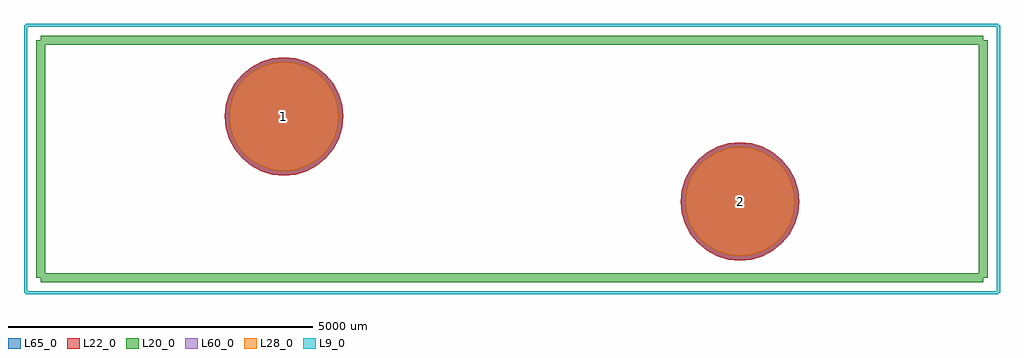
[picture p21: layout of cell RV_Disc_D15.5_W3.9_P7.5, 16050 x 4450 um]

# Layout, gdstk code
import gdstk
lib = gdstk.Library(unit=1e-6, precision=1e-09)
def P(c, l, *ps):  # polygons
    for p in ps: c.add(gdstk.Polygon(p, *l))
L9_0 = (9, 0)
L20_0 = (20, 0)
L22_0 = (22, 0)
L28_0 = (28, 0)
L60_0 = (60, 0)
L65_0 = (65, 0)

rv_disc_d15_5_w3_9_p7_5 = lib.new_cell('RV_Disc_D15.5_W3.9_P7.5')
P(rv_disc_d15_5_w3_9_p7_5, L22_0, [(8475,-1400),(8456.266,-1209.787),(8400.783,-1026.884),(8310.683,-858.319),(8189.429,-710.571),(8041.681,-589.317),(7873.116,-499.217),(7690.213,-443.734),(7500,-425),(7309.787,-443.734),(7126.884,-499.217),(6958.319,-589.317),(6810.571,-710.571),(6689.317,-858.319),(6599.217,-1026.884),(6543.734,-1209.787),(6525,-1400),(6543.734,-1590.213),(6599.217,-1773.116),(6689.317,-1941.681),(6810.571,-2089.429),(6958.319,-2210.683),(7126.884,-2300.783),(7309.787,-2356.266),(7500,-2375),(7690.213,-2356.266),(7873.116,-2300.783),(8041.681,-2210.683),(8189.429,-2089.429),(8310.683,-1941.681),(8400.783,-1773.116),(8456.266,-1590.213)],
  [(975,0),(956.266,190.213),(900.783,373.116),(810.683,541.681),(689.429,689.429),(541.681,810.683),(373.116,900.783),(190.213,956.266),(0,975),(-190.213,956.266),(-373.116,900.783),(-541.681,810.683),(-689.429,689.429),(-810.683,541.681),(-900.783,373.116),(-956.266,190.213),(-975,0),(-956.266,-190.213),(-900.783,-373.116),(-810.683,-541.681),(-689.429,-689.429),(-541.681,-810.683),(-373.116,-900.783),(-190.213,-956.266),(0,-975),(190.213,-956.266),(373.116,-900.783),(541.681,-810.683),(689.429,-689.429),(810.683,-541.681),(900.783,-373.116),(956.266,-190.213)])
P(rv_disc_d15_5_w3_9_p7_5, L28_0, [(8400,-1400),(8382.707,-1224.419),(8331.492,-1055.585),(8248.323,-899.987),(8136.396,-763.604),(8000.013,-651.677),(7844.415,-568.508),(7675.581,-517.293),(7500,-500),(7324.419,-517.293),(7155.585,-568.508),(6999.987,-651.677),(6863.604,-763.604),(6751.677,-899.987),(6668.508,-1055.585),(6617.293,-1224.419),(6600,-1400),(6617.293,-1575.581),(6668.508,-1744.415),(6751.677,-1900.013),(6863.604,-2036.396),(6999.987,-2148.323),(7155.585,-2231.492),(7324.419,-2282.707),(7500,-2300),(7675.581,-2282.707),(7844.415,-2231.492),(8000.013,-2148.323),(8136.396,-2036.396),(8248.323,-1900.013),(8331.492,-1744.415),(8382.707,-1575.581)],
  [(900,0),(882.707,175.581),(831.492,344.415),(748.323,500.013),(636.396,636.396),(500.013,748.323),(344.415,831.492),(175.581,882.707),(0,900),(-175.581,882.707),(-344.415,831.492),(-500.013,748.323),(-636.396,636.396),(-748.323,500.013),(-831.492,344.415),(-882.707,175.581),(-900,0),(-882.707,-175.581),(-831.492,-344.415),(-748.323,-500.013),(-636.396,-636.396),(-500.013,-748.323),(-344.415,-831.492),(-175.581,-882.707),(0,-900),(175.581,-882.707),(344.415,-831.492),(500.013,-748.323),(636.396,-636.396),(748.323,-500.013),(831.492,-344.415),(882.707,-175.581)])
P(rv_disc_d15_5_w3_9_p7_5, L60_0, [(8400,-1400),(8382.707,-1224.419),(8331.492,-1055.585),(8248.323,-899.987),(8136.396,-763.604),(8000.013,-651.677),(7844.415,-568.508),(7675.581,-517.293),(7500,-500),(7324.419,-517.293),(7155.585,-568.508),(6999.987,-651.677),(6863.604,-763.604),(6751.677,-899.987),(6668.508,-1055.585),(6617.293,-1224.419),(6600,-1400),(6617.293,-1575.581),(6668.508,-1744.415),(6751.677,-1900.013),(6863.604,-2036.396),(6999.987,-2148.323),(7155.585,-2231.492),(7324.419,-2282.707),(7500,-2300),(7675.581,-2282.707),(7844.415,-2231.492),(8000.013,-2148.323),(8136.396,-2036.396),(8248.323,-1900.013),(8331.492,-1744.415),(8382.707,-1575.581)],
  [(900,0),(882.707,175.581),(831.492,344.415),(748.323,500.013),(636.396,636.396),(500.013,748.323),(344.415,831.492),(175.581,882.707),(0,900),(-175.581,882.707),(-344.415,831.492),(-500.013,748.323),(-636.396,636.396),(-748.323,500.013),(-831.492,344.415),(-882.707,175.581),(-900,0),(-882.707,-175.581),(-831.492,-344.415),(-748.323,-500.013),(-636.396,-636.396),(-500.013,-748.323),(-344.415,-831.492),(-175.581,-882.707),(0,-900),(175.581,-882.707),(344.415,-831.492),(500.013,-748.323),(636.396,-636.396),(748.323,-500.013),(831.492,-344.415),(882.707,-175.581)])
P(rv_disc_d15_5_w3_9_p7_5, L65_0, [(8475,-1400),(8456.266,-1209.787),(8400.783,-1026.884),(8310.683,-858.319),(8189.429,-710.571),(8041.681,-589.317),(7873.116,-499.217),(7690.213,-443.734),(7500,-425),(7309.787,-443.734),(7126.884,-499.217),(6958.319,-589.317),(6810.571,-710.571),(6689.317,-858.319),(6599.217,-1026.884),(6543.734,-1209.787),(6525,-1400),(6543.734,-1590.213),(6599.217,-1773.116),(6689.317,-1941.681),(6810.571,-2089.429),(6958.319,-2210.683),(7126.884,-2300.783),(7309.787,-2356.266),(7500,-2375),(7690.213,-2356.266),(7873.116,-2300.783),(8041.681,-2210.683),(8189.429,-2089.429),(8310.683,-1941.681),(8400.783,-1773.116),(8456.266,-1590.213)],
  [(975,0),(956.266,190.213),(900.783,373.116),(810.683,541.681),(689.429,689.429),(541.681,810.683),(373.116,900.783),(190.213,956.266),(0,975),(-190.213,956.266),(-373.116,900.783),(-541.681,810.683),(-689.429,689.429),(-810.683,541.681),(-900.783,373.116),(-956.266,190.213),(-975,0),(-956.266,-190.213),(-900.783,-373.116),(-810.683,-541.681),(-689.429,-689.429),(-541.681,-810.683),(-373.116,-900.783),(-190.213,-956.266),(0,-975),(190.213,-956.266),(373.116,-900.783),(541.681,-810.683),(689.429,-689.429),(810.683,-541.681),(900.783,-373.116),(956.266,-190.213)])
rv_disc_d15_5_w3_9_p7_5.add(gdstk.FlexPath([(-4000,1250),(-4000,-2650)], 149.998, ends="flush", simple_path=True, layer=20, datatype=0))  # L20_0
rv_disc_d15_5_w3_9_p7_5.add(gdstk.FlexPath([(11500,1250),(11500,-2650)], 149.998, ends="flush", simple_path=True, layer=20, datatype=0))  # L20_0
rv_disc_d15_5_w3_9_p7_5.add(gdstk.FlexPath([(-4000,1250),(11500,1250)], 149.998, ends="flush", simple_path=True, layer=20, datatype=0))  # L20_0
rv_disc_d15_5_w3_9_p7_5.add(gdstk.FlexPath([(-4000,-2650),(11500,-2650)], 149.998, ends="flush", simple_path=True, layer=20, datatype=0))  # L20_0
rv_disc_d15_5_w3_9_p7_5.add(gdstk.FlexPath([(-4250,1500),(-4250,-2900)], 50, ends="flush", simple_path=True, layer=9, datatype=0))  # L9_0
rv_disc_d15_5_w3_9_p7_5.add(gdstk.FlexPath([(11750,1500),(11750,-2900)], 50, ends="flush", simple_path=True, layer=9, datatype=0))  # L9_0
rv_disc_d15_5_w3_9_p7_5.add(gdstk.FlexPath([(-4250,1500),(11750,1500)], 50, ends="flush", simple_path=True, layer=9, datatype=0))  # L9_0
rv_disc_d15_5_w3_9_p7_5.add(gdstk.FlexPath([(-4250,-2900),(11750,-2900)], 50, ends="flush", simple_path=True, layer=9, datatype=0))  # L9_0
rv_disc_d15_5_w3_9_p7_5.add(gdstk.Label('2', (7500,-1400), layer=28, texttype=0))
rv_disc_d15_5_w3_9_p7_5.add(gdstk.Label('1', (0,0), layer=28, texttype=0))
rv_disc_d15_5_w3_9_p7_5.add(gdstk.Label('type', (3750,2250), layer=9, texttype=0))
rv_disc_d15_5_w3_9_p7_5.add(gdstk.Label('devicename', (3750,-3650), layer=9, texttype=0))

lib.write_gds('RV_Disc_D15.5_W3.9_P7.5.gds')
